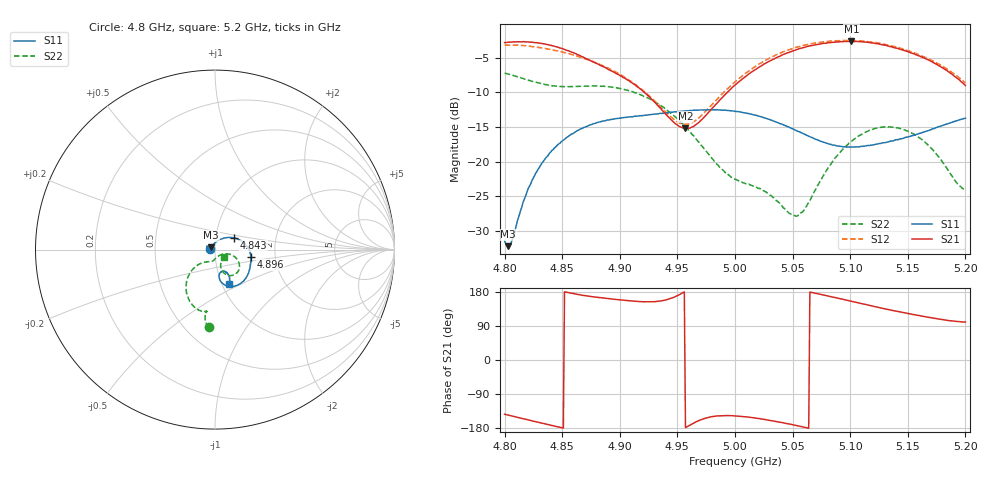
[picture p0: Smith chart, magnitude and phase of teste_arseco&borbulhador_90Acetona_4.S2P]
! Network Analyzer HP8722D
! Hewlett-Packard
! Data name: Linha & Wilkinson
! Saver's name: Rodrigo Anjos
! Comments: Teste da utilização de aquisição
! continua pelo VNA HP8722D
! Time and date: 17/4/2025 11:05
!  Frequency  S11  S21  S12  S22
# HZ  S  MA R 50
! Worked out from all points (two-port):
!   401 points, 4.8 GHz to 5.2 GHz, reference 50 ohm
!   highest |S21| = -2.66 dB at 5.101 GHz (marker M1); lowest = -15.2 dB at 4.957 GHz (marker M2)
!   |S21| within 3 dB of the highest: start of sweep to 4.877 GHz; 5.028 GHz to 5.172 GHz (143.3 MHz wide, 2.81 % of centre)
!   lowest |S11| = -32.2 dB at 4.803 GHz (marker M3), VSWR 1.05, Z = 48 + j1.29 ohm
!   |S11| at or under -10 dB: start of sweep to end of sweep
!   |S22| runs from -27.9 to -7.2 dB; largest |S21 - S12| = 0.086
!   S11 on the Smith chart (normalised r, x): 4.8 GHz: 0.95, +0.00; 4.843 GHz: 1.23, +0.16; 4.896 GHz: 1.49, -0.13; 5.2 GHz: 1.08, -0.43
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4.8e9  0.027 175.2  0.7214 -143.2  0.6939 -141.0  0.4346 -94.6
4.803e9  0.0246 146.9  0.7261 -145.2  0.6921 -143.1  0.4281 -95.3
4.807e9  0.02819 115.1  0.7294 -148.3  0.6924 -145.9  0.4189 -96.2
4.816e9  0.05105 74.1  0.7323 -154.8  0.6884 -151.8  0.3983 -97.7
4.823e9  0.07021 58.0  0.7271 -160.0  0.677 -156.1  0.3817 -98.4
4.843e9  0.125 31.4  0.6814 -174.2  0.6342 -168.0  0.3517 -97.8
4.867e9  0.1731 9.2  0.5714 171.1  0.5609 179.1  0.3497 -98.8
4.896e9  0.2038 -11.6  0.4354 160.1  0.446 166.0  0.3422 -108.8
4.934e9  0.2218 -29.7  0.2483 155.1  0.2558 161.6  0.2581 -128.5
4.957e9  0.2319 -39.9  0.1738 -178.4  0.1855 -173.1  0.1779 -137.8
4.969e9  0.2352 -45.8  0.1928 -159.2  0.208 -155.3  0.1373 -138.8
5e9  0.2307 -61.7  0.3562 -147.5  0.376 -145.1  0.07486 -116.8
5.026e9  0.2066 -73.9  0.5085 -157.1  0.5342 -155.2  0.06093 -97.5
5.052e9  0.1696 -81.1  0.6353 -172.1  0.6612 -171.1  0.04085 -60.2
5.058e9  0.1611 -81.4  0.6596 -176.0  0.6821 -175.1  0.0431 -43.3
5.067e9  0.1492 -81.4  0.6877 178.0  0.7113 178.9  0.05632 -25.2
5.085e9  0.1315 -77.2  0.7244 165.8  0.7422 166.9  0.1011 -17.9
5.101e9  0.1274 -71.6  0.736 155.2  0.7458 156.0  0.1397 -24.8
5.118e9  0.1315 -67.0  0.7192 143.1  0.7289 144.7  0.1693 -36.7
5.134e9  0.1395 -63.9  0.6775 132.6  0.6883 134.1  0.1781 -49.2
5.163e9  0.1628 -61.9  0.5634 115.4  0.5744 117.0  0.1425 -68.5
5.2e9  0.2054 -67.9  0.3541 100.0  0.3704 101.2  0.06305 -41.3
